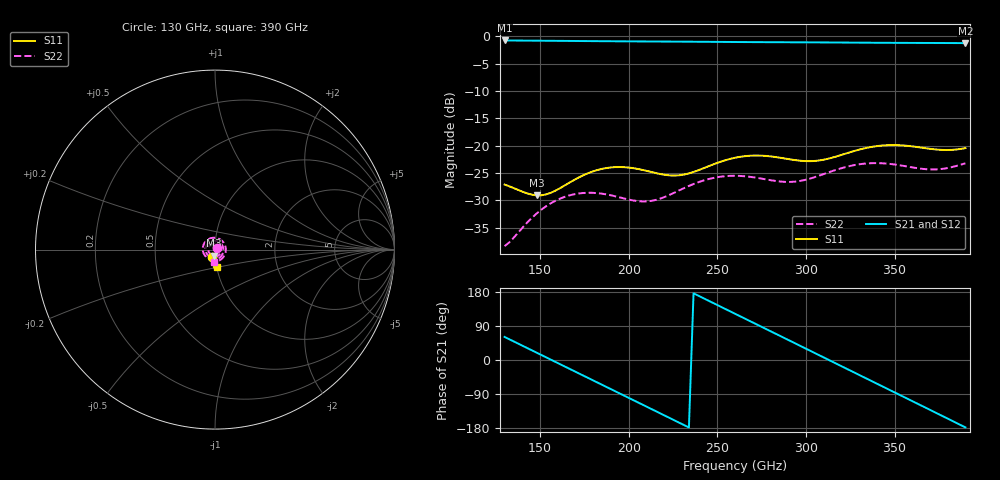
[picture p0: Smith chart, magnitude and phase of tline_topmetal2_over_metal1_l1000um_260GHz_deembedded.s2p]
! Created with skrf 2.0.1 (http://scikit-rf.org).
# GHz S DB R 50.0
!freq dBS11 angS11 dBS21 angS21 dBS12 angS12 dBS22 angS22
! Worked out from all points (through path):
!   101 points, 130 GHz to 390 GHz, reference 50 ohm
!   highest |S21| = -0.79 dB at 130 GHz (marker M1); lowest = -1.3 dB at 390 GHz (marker M2)
!   group delay of S21, straight-line fit = 6.39 ps
!   lowest |S11| = -29.1 dB at 148.2 GHz (marker M3), VSWR 1.07, Z = 49.3 - j3.43 ohm
!   |S11| at or under -10 dB: start of sweep to end of sweep
!   |S22| runs from -38.3 to -23.2 dB; largest |S21 - S12| = 1e-13
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130  -27.10 -108.5  -0.79 60.8  -0.79 60.8  -38.34 40.4
148.2  -29.07 -99.7  -0.83 19.0  -0.83 19.0  -32.34 -62.0
161.2  -27.76 -84.9  -0.86 -10.8  -0.86 -10.8  -29.68 -113.9
174.2  -25.43 -83.9  -0.90 -40.7  -0.90 -40.7  -28.64 -163.3
184.6  -24.25 -89.5  -0.92 -64.5  -0.92 -64.5  -28.74 155.2
195  -23.89 -96.3  -0.94 -88.4  -0.94 -88.4  -29.44 109.3
205.4  -24.26 -101.1  -0.96 -112.3  -0.96 -112.3  -30.13 56.4
218.4  -25.20 -99.7  -0.99 -142.2  -0.99 -142.2  -29.59 -15.3
228.8  -25.39 -92.2  -1.00 -166.1  -1.00 -166.1  -28.11 -68.1
239.2  -24.50 -85.3  -1.03 170.0  -1.03 170.0  -26.68 -114.8
260  -22.20 -87.3  -1.07 122.1  -1.07 122.1  -25.49 159.2
270.4  -21.80 -92.1  -1.09 98.2  -1.09 98.2  -25.77 114.8
280.8  -21.98 -95.9  -1.11 74.2  -1.11 74.2  -26.33 66.3
291.2  -22.50 -96.1  -1.12 50.3  -1.12 50.3  -26.61 13.1
304.2  -22.80 -90.3  -1.14 20.3  -1.14 20.3  -25.82 -54.7
314.6  -22.21 -84.8  -1.16 -3.7  -1.16 -3.7  -24.66 -104.4
325  -21.18 -83.1  -1.18 -27.7  -1.18 -27.7  -23.69 -149.9
338  -20.17 -86.2  -1.21 -57.7  -1.21 -57.7  -23.18 155.8
348.4  -19.88 -90.4  -1.22 -81.7  -1.22 -81.7  -23.36 111.6
366.6  -20.41 -93.8  -1.24 -123.7  -1.24 -123.7  -24.26 25.8
379.6  -20.79 -89.7  -1.26 -153.7  -1.26 -153.7  -24.09 -41.7
390  -20.44 -84.8  -1.28 -177.8  -1.28 -177.8  -23.21 -93.6
